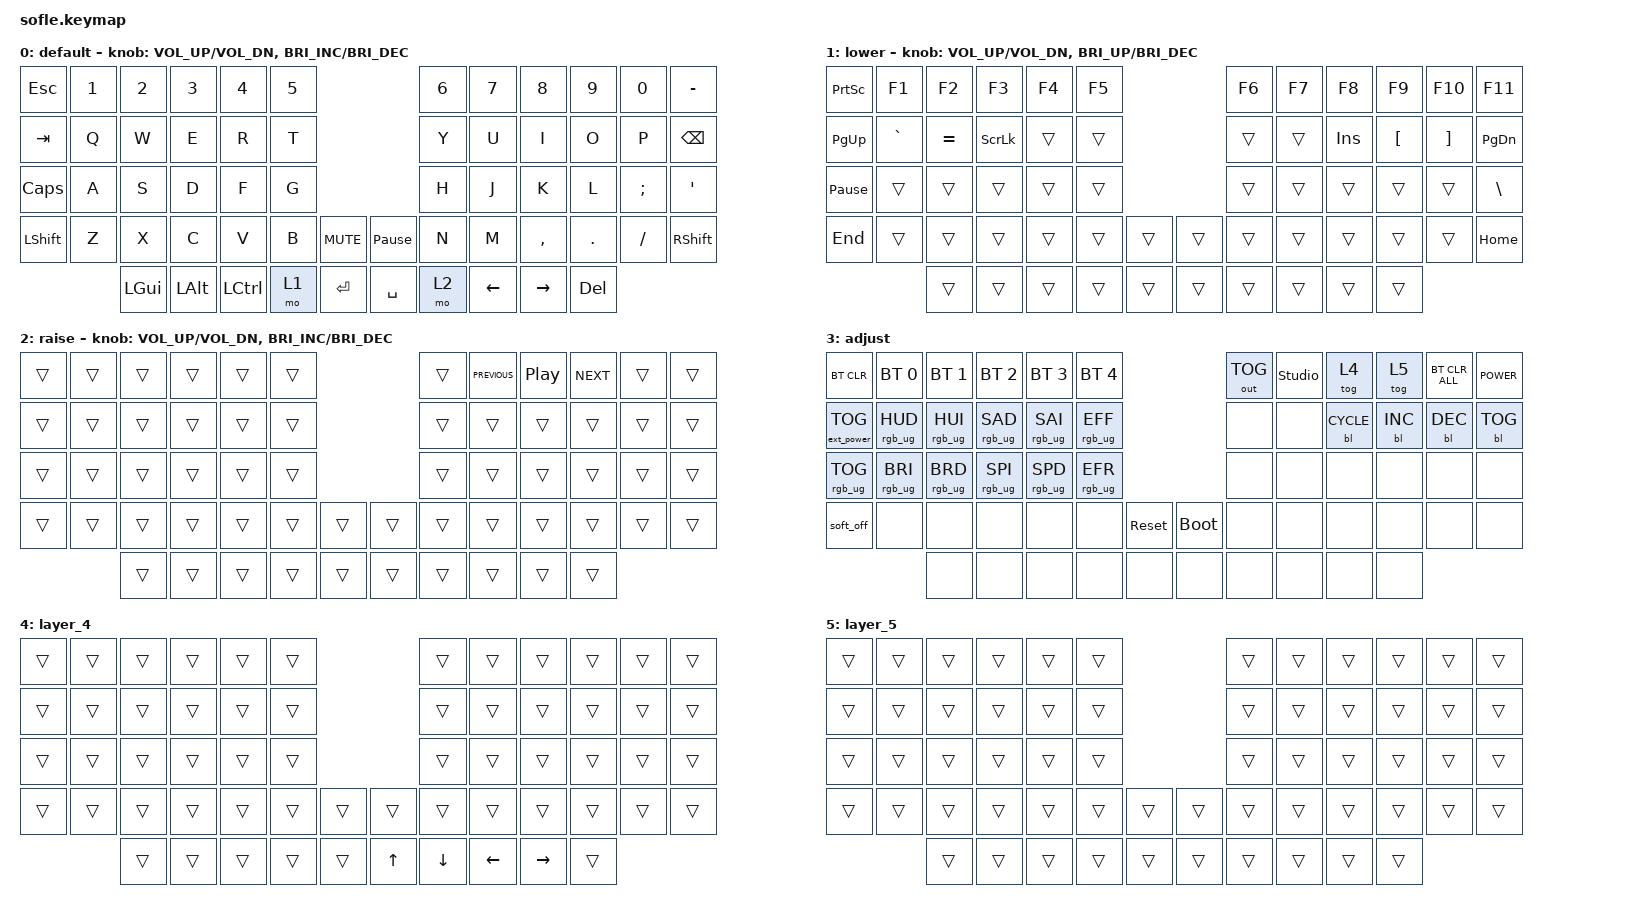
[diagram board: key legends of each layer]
/*
 * Copyright (c) 2020 The ZMK Contributors
 *
 * SPDX-License-Identifier: MIT
 */

#include <behaviors.dtsi>
#include <dt-bindings/zmk/backlight.h>
#include <dt-bindings/zmk/bt.h>
#include <dt-bindings/zmk/ext_power.h>
#include <dt-bindings/zmk/keys.h>
#include <dt-bindings/zmk/outputs.h>
#include <dt-bindings/zmk/rgb.h>

#define BASE 0
#define LOWER 1
#define RAISE 2
#define ADJUST 3

/ {
    // Activate ADJUST layer by pressing raise and lower

    conditional_layers {
        compatible = "zmk,conditional-layers";

        adjust_layer {
            if-layers = <LOWER RAISE>;
            then-layer = <ADJUST>;
        };
    };

    combos { compatible = "zmk,combos"; };

    keymap {
        compatible = "zmk,keymap";

        default_layer {
            label = "default";

            // ------------------------------------------------------------------------------------------------------------
            // |   `   |  1  |  2  |  3   |  4   |  5   |                   |  6   |  7    |  8    |  9   |   0   |       |
            // |  ESC  |  Q  |  W  |  E   |  R   |  T   |                   |  Y   |  U    |  I    |  O   |   P   | BKSPC |
            // |  TAB  |  A  |  S  |  D   |  F   |  G   |                   |  H   |  J    |  K    |  L   |   ;   |   '   |
            // | SHIFT |  Z  |  X  |  C   |  V   |  B   |  MUTE  |  |       |  N   |  M    |  ,    |  .   |   /   | SHIFT |
            //               | GUI | ALT  | CTRL | LOWER|  ENTER |  | SPACE | RAISE| CTRL  | ALT   | GUI  |

            bindings = <
&kp ESC       &kp N1  &kp N2        &kp N3    &kp N4     &kp N5                                 &kp N6  &kp N7          &kp N8     &kp N9   &kp N0    &kp MINUS
&kp TAB       &kp Q   &kp W         &kp E     &kp R      &kp T                                  &kp Y   &kp U           &kp I      &kp O    &kp P     &kp BACKSPACE
&kp CAPSLOCK  &kp A   &kp S         &kp D     &kp F      &kp G                                  &kp H   &kp J           &kp K      &kp L    &kp SEMI  &kp SQT
&kp LSHFT     &kp Z   &kp X         &kp C     &kp V      &kp B   &kp C_MUTE    &kp PAUSE_BREAK  &kp N   &kp M           &kp COMMA  &kp DOT  &kp FSLH  &kp RSHFT
                      &kp LEFT_GUI  &kp LALT  &kp LCTRL  &mo 1   &kp ENTER     &kp SPACE        &mo 2   &kp LEFT_ARROW  &kp RIGHT  &kp DEL
            >;

            sensor-bindings =
                <&inc_dec_kp C_VOL_UP C_VOL_DN>,
                <&inc_dec_kp C_BRIGHTNESS_INC C_BRIGHTNESS_DEC>;
        };

        lower_layer {
            label = "lower";

            // TODO: Some binds are waiting for shifted keycode support.
            // ------------------------------------------------------------------------------------------------------------
            // |       |  F1 |  F2 |  F3  |  F4  |  F5  |                   |  F6  |  F7   |  F8   |  F9  |  F10  |  F11  |
            // |   `   |  1  |  2  |  3   |  4   |  5   |                   |  6   |  7    |  8    |  9   |   0   |  F12  |
            // |       |  !  |  @  |  #   |  $   |  %   |                   |  ^   |  &    |  *    |  (   |   )   |   |   |
            // |       |  =  |  -  |  +   |  {   |  }   |        |  |       |  [   |  ]    |  ;    |  :   |   \   |       |
            //               |     |      |      |      |        |  |       |      |       |       |      |

            bindings = <
&kp PRINTSCREEN  &kp F1     &kp F2     &kp F3          &kp F4  &kp F5                    &kp F6  &kp F7  &kp F8   &kp F9            &kp F10            &kp F11
&kp PG_UP        &kp GRAVE  &kp EQUAL  &kp SCROLLLOCK  &trans  &trans                    &trans  &trans  &kp INS  &kp LEFT_BRACKET  &kp RIGHT_BRACKET  &kp PG_DN
&kp PAUSE_BREAK  &trans     &trans     &trans          &trans  &trans                    &trans  &trans  &trans   &trans            &trans             &kp BACKSLASH
&kp END          &trans     &trans     &trans          &trans  &trans  &trans    &trans  &trans  &trans  &trans   &trans            &trans             &kp HOME
                            &trans     &trans          &trans  &trans  &trans    &trans  &trans  &trans  &trans   &trans
            >;

            sensor-bindings =
                <&inc_dec_kp C_VOL_UP C_VOL_DN>,
                <&inc_dec_kp C_BRI_UP C_BRI_DEC>;
        };

        raise_layer {
            label = "raise";

            // ------------------------------------------------------------------------------------------------------------
            // | BTCLR | BT1  | BT2  |  BT3  |  BT4  |  BT5 |                |      |      |       |      |       |       |
            // |       | INS  | PSCR | GUI   |       |      |                | PGUP |      |   ^   |      |       |       |
            // |       | ALT  | CTRL | SHIFT |       | CAPS |                | PGDN |   <- |   v   |  ->  |  DEL  | BKSPC |
            // |       | UNDO | CUT  | COPY  | PASTE |      |      |  |      |      |      |       |      |       |       |
            //                |      |       |       |      |      |  |      |      |      |       |      |

            bindings = <
&trans  &trans  &trans  &trans  &trans  &trans                    &trans  &kp C_PREVIOUS  &kp C_PLAY_PAUSE  &kp C_NEXT  &trans  &trans
&trans  &trans  &trans  &trans  &trans  &trans                    &trans  &trans          &trans            &trans      &trans  &trans
&trans  &trans  &trans  &trans  &trans  &trans                    &trans  &trans          &trans            &trans      &trans  &trans
&trans  &trans  &trans  &trans  &trans  &trans  &trans    &trans  &trans  &trans          &trans            &trans      &trans  &trans
                &trans  &trans  &trans  &trans  &trans    &trans  &trans  &trans          &trans            &trans
            >;

            sensor-bindings =
                <&inc_dec_kp C_VOL_UP C_VOL_DN>,
                <&inc_dec_kp C_BRIGHTNESS_INC C_BRIGHTNESS_DEC>;
        };

        adjust_layer {
            // ----------------------------------------------------------------------------------------------------------------------------
            // | BTCLR  |  BT1    |  BT2    |   BT3   |   BT4   |   BT5   |                  |      |      |       |      |       |       |
            // | EXTPWR | RGB_HUD | RGB_HUI | RGB_SAD | RGB_SAI | RGB_EFF |                  |      |      |       |      |       |       |
            // |        | RGB_BRD | RGB_BRI |         |         |         |                  |      |      |       |      |       |       |
            // |        |         |         |         |         |         | RGB_TOG | |      |      |      |       |      |       |       |
            //                    |         |         |         |         |         | |      |      |      |       |      |

            label = "adjust";
            bindings = <
&bt BT_CLR         &bt BT_SEL 0     &bt BT_SEL 1     &bt BT_SEL 2     &bt BT_SEL 3     &bt BT_SEL 4                                &out OUT_TOG  &studio_unlock  &tog 4        &tog 5      &bt BT_CLR_ALL  &kp C_POWER
&ext_power EP_TOG  &rgb_ug RGB_HUD  &rgb_ug RGB_HUI  &rgb_ug RGB_SAD  &rgb_ug RGB_SAI  &rgb_ug RGB_EFF                             &none         &none           &bl BL_CYCLE  &bl BL_INC  &bl BL_DEC      &bl BL_TOG
&rgb_ug RGB_TOG    &rgb_ug RGB_BRI  &rgb_ug RGB_BRD  &rgb_ug RGB_SPI  &rgb_ug RGB_SPD  &rgb_ug RGB_EFR                             &none         &none           &none         &none       &none           &none
&soft_off          &none            &none            &none            &none            &none            &sys_reset    &bootloader  &none         &none           &none         &none       &none           &none
                                    &none            &none            &none            &none            &none         &none        &none         &none           &none         &none
            >;
        };

        layer_4 {
            bindings = <
&trans  &trans  &trans  &trans  &trans  &trans                          &trans    &trans    &trans     &trans  &trans  &trans
&trans  &trans  &trans  &trans  &trans  &trans                          &trans    &trans    &trans     &trans  &trans  &trans
&trans  &trans  &trans  &trans  &trans  &trans                          &trans    &trans    &trans     &trans  &trans  &trans
&trans  &trans  &trans  &trans  &trans  &trans  &trans    &trans        &trans    &trans    &trans     &trans  &trans  &trans
                &trans  &trans  &trans  &trans  &trans    &kp UP_ARROW  &kp DOWN  &kp LEFT  &kp RIGHT  &trans
            >;

            label = "layer_4";
        };

        layer_5 {
            bindings = <
&trans  &trans  &trans  &trans  &trans  &trans                    &trans  &trans  &trans  &trans  &trans  &trans
&trans  &trans  &trans  &trans  &trans  &trans                    &trans  &trans  &trans  &trans  &trans  &trans
&trans  &trans  &trans  &trans  &trans  &trans                    &trans  &trans  &trans  &trans  &trans  &trans
&trans  &trans  &trans  &trans  &trans  &trans  &trans    &trans  &trans  &trans  &trans  &trans  &trans  &trans
                &trans  &trans  &trans  &trans  &trans    &trans  &trans  &trans  &trans  &trans
            >;

            label = "layer_5";
        };
    };
};
